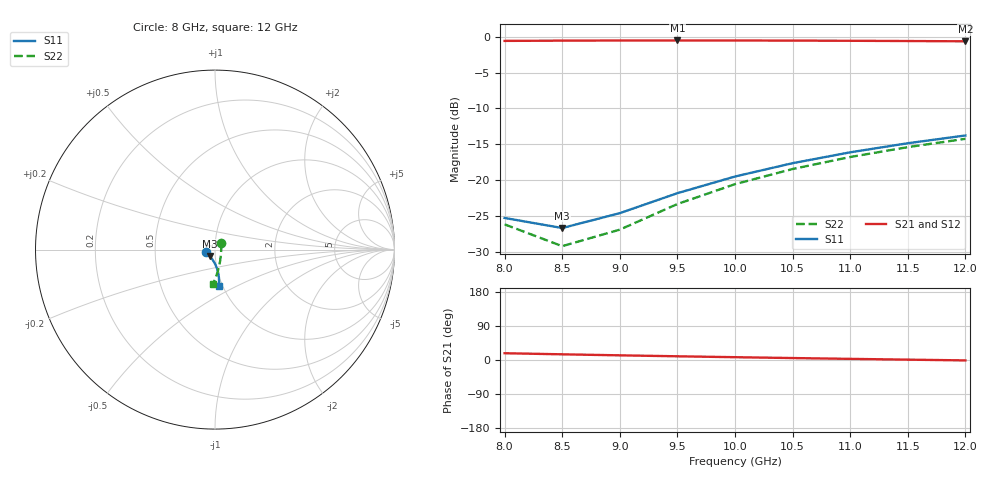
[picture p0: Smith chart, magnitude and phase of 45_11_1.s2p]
! Created Thu Oct 22 17:07:00 2020
# hz S ma R 50
! 2 Port Network Data from SP1.SP block
! freq  magS11  angS11  magS21  angS21  magS12  angS12  magS22  angS22
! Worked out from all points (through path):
!   9 points, 8 GHz to 12 GHz, reference 50 ohm
!   highest |S21| = -0.54 dB at 9.5 GHz (marker M1); lowest = -0.7 dB at 12 GHz (marker M2)
!   lowest |S11| = -26.7 dB at 8.5 GHz (marker M3), VSWR 1.10, Z = 47 - j3.33 ohm
!   |S11| at or under -10 dB: start of sweep to end of sweep
!   |S22| runs from -29.2 to -14.2 dB; largest |S21 - S12| = 0
8e9  0.05462 -164.0  0.9335 17.9  0.9335 17.9  0.0493 45.7
8.5e9  0.04647 -130.4  0.9373 15.0  0.9373 15.0  0.03475 1.8
9e9  0.05899 -102.1  0.9394 12.3  0.9394 12.3  0.04529 -43.6
9.5e9  0.08125 -89.1  0.9401 9.8  0.9401 9.8  0.06829 -65.0
1e10  0.1061 -83.9  0.9395 7.4  0.9395 7.4  0.09389 -75.6
1.05e10  0.1314 -82.2  0.9378 5.1  0.9378 5.1  0.1197 -82.2
1.1e10  0.1564 -82.0  0.9352 3.0  0.9352 3.0  0.1451 -86.9
1.15e10  0.181 -82.7  0.9316 0.9  0.9316 0.9  0.17 -90.5
1.2e10  0.2049 -83.9  0.9272 -1.1  0.9272 -1.1  0.1942 -93.6
